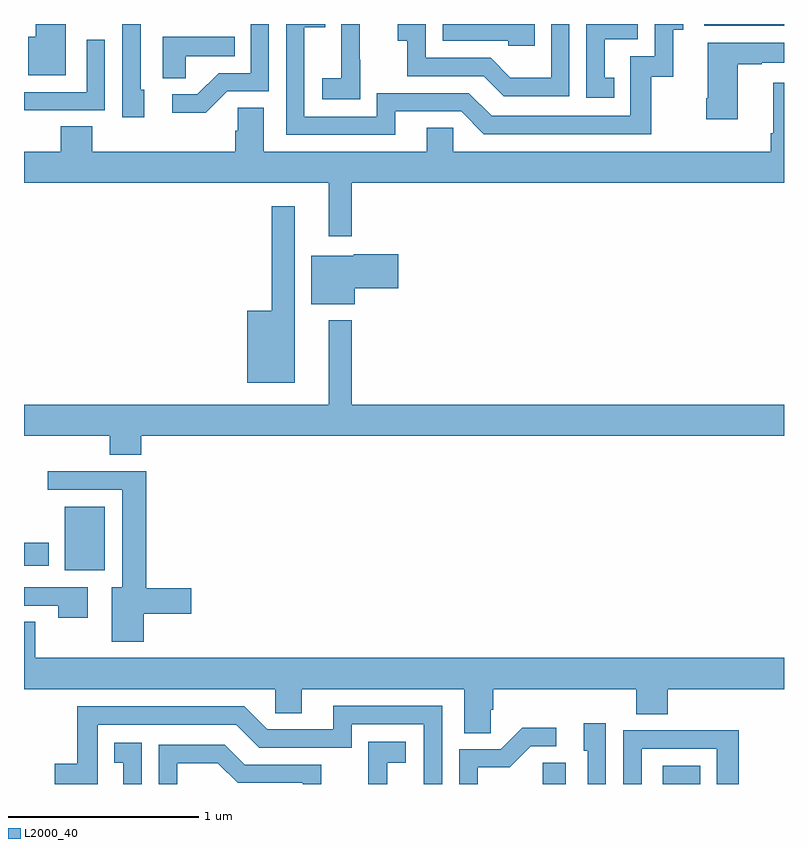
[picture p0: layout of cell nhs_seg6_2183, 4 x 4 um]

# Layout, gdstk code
import gdstk
lib = gdstk.Library(unit=1e-6, precision=1e-09)
def R(c, l, rs):  # rectangles x0, y0, x1, y1
    for r in rs: c.add(gdstk.rectangle(r[:2], r[2:], *l))
def P(c, l, *ps):  # polygons
    for p in ps: c.add(gdstk.Polygon(p, *l))
L2000_40 = (2000, 40)

nhs_seg6_2183 = lib.new_cell('nhs_seg6_2183')
R(nhs_seg6_2183, L2000_40, [(243.729,949.5,243.85,949.613), (244.361,949.5,244.558,949.597), (241.214,950.624,241.426,950.959), (241,950.648,241.129,950.77), (244.581,953.49,245,953.5)])
P(nhs_seg6_2183, L2000_40, [(243.87,953.5),(243.774,953.5),(243.774,953.218),(243.56,953.218),(243.456,953.322),(243.114,953.322),(243.114,953.5),(242.967,953.5),(242.967,953.411),(243.016,953.411),(243.016,953.226),(243.419,953.226),(243.524,953.121),(243.87,953.121)],
  [(242.953,953.04),(243.3,953.04),(243.42,952.92),(244.3,952.92),(244.3,953.223),(244.418,953.223),(244.418,953.469),(244.471,953.469),(244.471,953.5),(244.32,953.5),(244.32,953.331),(244.191,953.331),(244.191,953.016),(243.462,953.016),(243.342,953.136),(242.856,953.136),(242.856,953.013),(242.475,953.013),(242.475,953.482),(242.585,953.482),(242.585,953.5),(242.379,953.5),(242.379,952.917),(242.953,952.917)],
  [(241.633,953.154),(241.614,953.154),(241.614,953.5),(241.518,953.5),(241.518,953.01),(241.633,953.01)],
  [(241.219,953.5),(241.061,953.5),(241.061,953.434),(241.022,953.434),(241.022,953.231),(241.219,953.231)],
  [(242.005,953.08),(242.07,953.145),(242.289,953.145),(242.289,953.5),(242.193,953.5),(242.193,953.241),(242.024,953.241),(241.913,953.13),(241.779,953.13),(241.779,953.033),(241.957,953.033)],
  [(244.106,953.217),(244.057,953.217),(244.057,953.421),(244.23,953.421),(244.23,953.5),(243.96,953.5),(243.96,953.112),(244.106,953.112)],
  [(242.769,953.311),(242.768,953.311),(242.768,953.5),(242.67,953.5),(242.67,953.444),(242.669,953.444),(242.669,953.215),(242.571,953.215),(242.571,953.105),(242.769,953.105)],
  [(243.689,953.5),(243.204,953.5),(243.204,953.412),(243.549,953.412),(243.549,953.385),(243.689,953.385)],
  [(241.851,953.33),(242.108,953.33),(242.108,953.434),(241.73,953.434),(241.73,953.215),(241.851,953.215)],
  [(241.109,953.046),(241.425,953.046),(241.425,953.416),(241.329,953.416),(241.329,953.142),(241,953.142),(241,953.045),(241.109,953.045)],
  [(244.756,953.287),(244.883,953.287),(244.883,953.297),(245,953.297),(245,953.401),(244.598,953.401),(244.598,953.11),(244.591,953.11),(244.591,952.998),(244.756,952.998)],
  [(242.725,952.664),(245,952.664),(245,953.191),(244.943,953.191),(244.943,952.924),(244.931,952.924),(244.931,952.828),(243.258,952.828),(243.258,952.955),(243.119,952.955),(243.119,952.828),(242.263,952.828),(242.263,953.06),(242.124,953.06),(242.124,952.937),(242.111,952.937),(242.111,952.828),(241.358,952.828),(241.358,952.961),(241.193,952.961),(241.193,952.828),(241,952.828),(241,952.664),(242.603,952.664),(242.603,952.383),(242.725,952.383)],
  [(242.425,952.54),(242.304,952.54),(242.304,951.991),(242.174,951.991),(242.174,951.611),(242.425,951.611)],
  [(242.74,952.109),(242.971,952.109),(242.971,952.287),(242.736,952.287),(242.736,952.279),(242.513,952.279),(242.513,952.025),(242.74,952.025)],
  [(241,951.332),(241.451,951.332),(241.451,951.233),(241.616,951.233),(241.616,951.332),(245,951.332),(245,951.496),(242.725,951.496),(242.725,951.94),(242.603,951.94),(242.603,951.496),(241,951.496)],
  [(241.63,950.396),(241.879,950.396),(241.879,950.531),(241.643,950.531),(241.643,951.146),(241.125,951.146),(241.125,951.048),(241.517,951.048),(241.517,950.536),(241.463,950.536),(241.463,950.25),(241.63,950.25)],
  [(241.336,950.535),(241,950.535),(241,950.439),(241.18,950.439),(241.18,950.376),(241.336,950.376)],
  [(243.456,949.891),(243.47,949.891),(243.47,950),(244.223,950),(244.223,949.867),(244.388,949.867),(244.388,950),(245,950),(245,950.164),(241.059,950.164),(241.059,950.354),(241,950.354),(241,950),(242.322,950),(242.322,949.873),(242.461,949.873),(242.461,950),(243.317,950),(243.317,949.768),(243.456,949.768)],
  [(241.389,949.812),(242.118,949.812),(242.238,949.692),(242.724,949.692),(242.724,949.815),(243.105,949.815),(243.105,949.5),(243.201,949.5),(243.201,949.911),(242.627,949.911),(242.627,949.788),(242.28,949.788),(242.16,949.908),(241.281,949.908),(241.281,949.606),(241.163,949.606),(241.163,949.5),(241.389,949.5)],
  [(244.062,949.819),(243.947,949.819),(243.947,949.674),(243.966,949.674),(243.966,949.5),(244.062,949.5)],
  [(243.387,949.587),(243.556,949.587),(243.667,949.698),(243.802,949.698),(243.802,949.796),(243.623,949.796),(243.51,949.683),(243.291,949.683),(243.291,949.5),(243.387,949.5)],
  [(244.251,949.686),(244.647,949.686),(244.647,949.5),(244.763,949.5),(244.763,949.784),(244.471,949.784),(244.471,949.782),(244.155,949.782),(244.155,949.5),(244.251,949.5)],
  [(242.912,949.613),(243.01,949.613),(243.01,949.723),(242.812,949.723),(242.812,949.517),(242.813,949.517),(242.813,949.5),(242.912,949.5)],
  [(241.62,949.717),(241.474,949.717),(241.474,949.611),(241.523,949.611),(241.523,949.5),(241.62,949.5)],
  [(241.806,949.61),(242.02,949.61),(242.124,949.506),(242.466,949.506),(242.466,949.5),(242.565,949.5),(242.565,949.602),(242.161,949.602),(242.056,949.707),(241.71,949.707),(241.71,949.5),(241.806,949.5)])

lib.write_gds('nhs_seg6_2183.gds')
